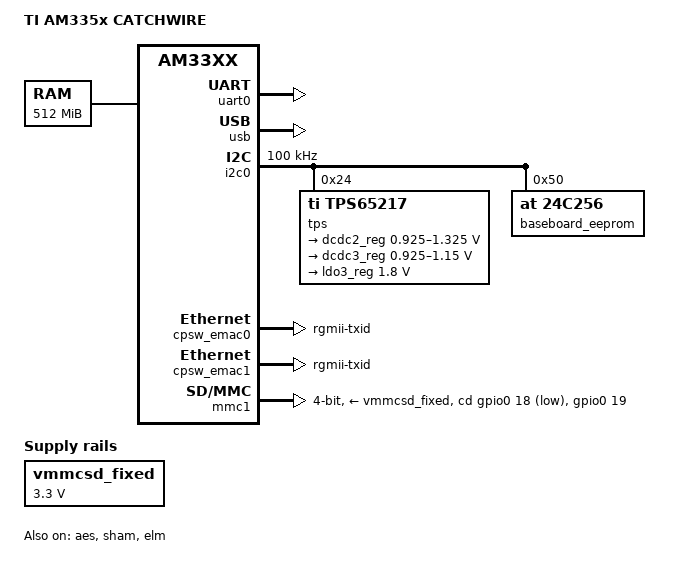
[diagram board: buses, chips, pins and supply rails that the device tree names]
/*
 * Copyright (C) 2012 Texas Instruments Incorporated - http://www.ti.com/
 *
 * This program is free software; you can redistribute it and/or modify
 * it under the terms of the GNU General Public License version 2 as
 * published by the Free Software Foundation.
 */
/dts-v1/;

#include "am33xx.dtsi"

/ {
	model = "TI AM335x CATCHWIRE";
	compatible = "ti,am33xx";

	memory {
		device_type = "memory";
		reg = <0x80000000 0x20000000>; /* 512 MB */
	};

	vmmcsd_fixed: fixedregulator@0 {
		compatible = "regulator-fixed";
		regulator-name = "vmmcsd_fixed";
		regulator-min-microvolt = <3300000>;
		regulator-max-microvolt = <3300000>;
	};
};

&am33xx_pinmux {
	pinctrl-names = "default";
	pinctrl-0 = <&clkout2_pin &gpio_pin>;

	i2c0_pins: pinmux_i2c0_pins {
		pinctrl-single,pins = <
			AM33XX_IOPAD(0x988, PIN_INPUT_PULLUP | MUX_MODE0 )	/* (C17) I2C0_SDA.I2C0_SDA */
			AM33XX_IOPAD(0x98c, PIN_INPUT_PULLUP | MUX_MODE0 )	/* (C16) I2C0_SCL.I2C0_SCL */
		>;
	};

	uart0_pins: pinmux_uart0_pins {
		pinctrl-single,pins = <
			AM33XX_IOPAD(0x968, PIN_INPUT_PULLUP | MUX_MODE6 )	/* (E18) uart0_ctsn.uart0_ctsn */
			AM33XX_IOPAD(0x96c, PIN_OUTPUT | MUX_MODE6 )		/* (E17) uart0_rtsn.uart0_rtsn */
			AM33XX_IOPAD(0x970, PIN_INPUT_PULLUP | MUX_MODE0 )	/* (E15) uart0_rxd.uart0_rxd */
			AM33XX_IOPAD(0x974, PIN_OUTPUT_PULLDOWN | MUX_MODE0 )	/* (E16) uart0_txd.uart0_txd */
		>;
	};

	clkout2_pin: pinmux_clkout2_pin {
		pinctrl-single,pins = <
			AM33XX_IOPAD(0x9b4, PIN_OUTPUT_PULLDOWN | MUX_MODE3 )	/* (D14) xdma_event_intr1.xdma_event_intr1 */
		>;
	};

	gpio_pin: pinmux_gpio_pin {
		pinctrl-single,pins = <
			AM33XX_IOPAD(0x800, PIN_INPUT_PULLDOWN | MUX_MODE7 )	/* (U7) gpmc_ad0.gpio1[0] */
			AM33XX_IOPAD(0x804, PIN_INPUT_PULLDOWN | MUX_MODE7 )	/* (V7) gpmc_ad1.gpio1[1] */
			AM33XX_IOPAD(0x9e8, PIN_OUTPUT_PULLDOWN | MUX_MODE7 )	/* (B14) EMU1.gpio3[8] */
		>;
	};

	cpsw_default: cpsw_default {
		pinctrl-single,pins = <
			AM33XX_IOPAD(0x914, PIN_OUTPUT_PULLDOWN | MUX_MODE2 )	/* (J16) gmii1_txen.rgmii1_tctl */
			AM33XX_IOPAD(0x918, PIN_INPUT_PULLDOWN | MUX_MODE2 )	/* (J17) gmii1_rxdv.rgmii1_rctl */
			AM33XX_IOPAD(0x91c, PIN_OUTPUT_PULLDOWN | MUX_MODE2 )	/* (J18) gmii1_txd3.rgmii1_td3 */
			AM33XX_IOPAD(0x920, PIN_OUTPUT_PULLDOWN | MUX_MODE2 )	/* (K15) gmii1_txd2.rgmii1_td2 */
			AM33XX_IOPAD(0x924, PIN_OUTPUT_PULLDOWN | MUX_MODE2 )	/* (K16) gmii1_txd1.rgmii1_td1 */
			AM33XX_IOPAD(0x928, PIN_OUTPUT_PULLDOWN | MUX_MODE2 )	/* (K17) gmii1_txd0.rgmii1_td0 */
			AM33XX_IOPAD(0x92c, PIN_OUTPUT_PULLDOWN | MUX_MODE2 )	/* (K18) gmii1_txclk.rgmii1_tclk */
			AM33XX_IOPAD(0x930, PIN_INPUT_PULLDOWN | MUX_MODE2 )	/* (L18) gmii1_rxclk.rgmii1_rclk */
			AM33XX_IOPAD(0x934, PIN_INPUT_PULLDOWN | MUX_MODE2 )	/* (L17) gmii1_rxd3.rgmii1_rd3 */
			AM33XX_IOPAD(0x938, PIN_INPUT_PULLDOWN | MUX_MODE2 )	/* (L16) gmii1_rxd2.rgmii1_rd2 */
			AM33XX_IOPAD(0x93c, PIN_INPUT_PULLDOWN | MUX_MODE2 )	/* (L15) gmii1_rxd1.rgmii1_rd1 */
			AM33XX_IOPAD(0x940, PIN_INPUT_PULLDOWN | MUX_MODE2 )	/* (M16) gmii1_rxd0.rgmii1_rd0 */

			AM33XX_IOPAD(0x840, PIN_OUTPUT_PULLDOWN | MUX_MODE2 )	/* (R13) gpmc_a0.rgmii2_tctl */
			AM33XX_IOPAD(0x844, PIN_INPUT_PULLDOWN | MUX_MODE2 )	/* (V14) gpmc_a1.rgmii2_rctl */
			AM33XX_IOPAD(0x848, PIN_OUTPUT_PULLDOWN | MUX_MODE2 )	/* (U14) gpmc_a2.rgmii2_td3 */
			AM33XX_IOPAD(0x84c, PIN_OUTPUT_PULLDOWN | MUX_MODE2 )	/* (T14) gpmc_a3.rgmii2_td2 */
			AM33XX_IOPAD(0x850, PIN_OUTPUT_PULLDOWN | MUX_MODE2 )	/* (R14) gpmc_a4.rgmii2_td1 */
			AM33XX_IOPAD(0x854, PIN_OUTPUT_PULLDOWN | MUX_MODE2 )	/* (V15) gpmc_a5.rgmii2_td0 */
			AM33XX_IOPAD(0x858, PIN_OUTPUT_PULLDOWN | MUX_MODE2 )	/* (U15) gpmc_a6.rgmii2_tclk */
			AM33XX_IOPAD(0x85c, PIN_INPUT_PULLDOWN | MUX_MODE2 )	/* (T15) gpmc_a7.rgmii2_rclk */
			AM33XX_IOPAD(0x860, PIN_INPUT_PULLDOWN | MUX_MODE2 )	/* (V16) gpmc_a8.rgmii2_rd3 */
			AM33XX_IOPAD(0x864, PIN_INPUT_PULLDOWN | MUX_MODE2 )	/* (U16) gpmc_a9.rgmii2_rd2 */
			AM33XX_IOPAD(0x868, PIN_INPUT_PULLDOWN | MUX_MODE2 )	/* (T16) gpmc_a10.rgmii2_rd1 */
			AM33XX_IOPAD(0x86c, PIN_INPUT_PULLDOWN | MUX_MODE2 )	/* (V17) gpmc_a11.rgmii2_rd0 */
		>;
	};

	cpsw_sleep: cpsw_sleep {
		pinctrl-single,pins = <
			AM33XX_IOPAD(0x914, PIN_INPUT_PULLDOWN | MUX_MODE7 )	/* (J16) gmii1_txen.rgmii1_tctl */
			AM33XX_IOPAD(0x918, PIN_INPUT_PULLDOWN | MUX_MODE7 )	/* (J17) gmii1_rxdv.rgmii1_rctl */
			AM33XX_IOPAD(0x91c, PIN_INPUT_PULLDOWN | MUX_MODE7 )	/* (J18) gmii1_txd3.rgmii1_td3 */
			AM33XX_IOPAD(0x920, PIN_INPUT_PULLDOWN | MUX_MODE7 )	/* (K15) gmii1_txd2.rgmii1_td2 */
			AM33XX_IOPAD(0x924, PIN_INPUT_PULLDOWN | MUX_MODE7 )	/* (K16) gmii1_txd1.rgmii1_td1 */
			AM33XX_IOPAD(0x928, PIN_INPUT_PULLDOWN | MUX_MODE7 )	/* (K17) gmii1_txd0.rgmii1_td0 */
			AM33XX_IOPAD(0x92c, PIN_INPUT_PULLDOWN | MUX_MODE7 )	/* (K18) gmii1_txclk.rgmii1_tclk */
			AM33XX_IOPAD(0x930, PIN_INPUT_PULLDOWN | MUX_MODE7 )	/* (L18) gmii1_rxclk.rgmii1_rclk */
			AM33XX_IOPAD(0x934, PIN_INPUT_PULLDOWN | MUX_MODE7 )	/* (L17) gmii1_rxd3.rgmii1_rd3 */
			AM33XX_IOPAD(0x938, PIN_INPUT_PULLDOWN | MUX_MODE7 )	/* (L16) gmii1_rxd2.rgmii1_rd2 */
			AM33XX_IOPAD(0x93c, PIN_INPUT_PULLDOWN | MUX_MODE7 )	/* (L15) gmii1_rxd1.rgmii1_rd1 */
			AM33XX_IOPAD(0x940, PIN_INPUT_PULLDOWN | MUX_MODE7 )	/* (M16) gmii1_rxd0.rgmii1_rd0 */

			AM33XX_IOPAD(0x840, PIN_INPUT_PULLDOWN | MUX_MODE7 )	/* (R13) gpmc_a0.rgmii2_tctl */
			AM33XX_IOPAD(0x844, PIN_INPUT_PULLDOWN | MUX_MODE7 )	/* (V14) gpmc_a1.rgmii2_rctl */
			AM33XX_IOPAD(0x848, PIN_INPUT_PULLDOWN | MUX_MODE7 )	/* (U14) gpmc_a2.rgmii2_td3 */
			AM33XX_IOPAD(0x84c, PIN_INPUT_PULLDOWN | MUX_MODE7 )	/* (T14) gpmc_a3.rgmii2_td2 */
			AM33XX_IOPAD(0x850, PIN_INPUT_PULLDOWN | MUX_MODE7 )	/* (R14) gpmc_a4.rgmii2_td1 */
			AM33XX_IOPAD(0x854, PIN_INPUT_PULLDOWN | MUX_MODE7 )	/* (V15) gpmc_a5.rgmii2_td0 */
			AM33XX_IOPAD(0x858, PIN_INPUT_PULLDOWN | MUX_MODE7 )	/* (U15) gpmc_a6.rgmii2_tclk */
			AM33XX_IOPAD(0x85c, PIN_INPUT_PULLDOWN | MUX_MODE7 )	/* (T15) gpmc_a7.rgmii2_rclk */
			AM33XX_IOPAD(0x860, PIN_INPUT_PULLDOWN | MUX_MODE7 )	/* (V16) gpmc_a8.rgmii2_rd3 */
			AM33XX_IOPAD(0x864, PIN_INPUT_PULLDOWN | MUX_MODE7 )	/* (U16) gpmc_a9.rgmii2_rd2 */
			AM33XX_IOPAD(0x868, PIN_INPUT_PULLDOWN | MUX_MODE7 )	/* (T16) gpmc_a10.rgmii2_rd1 */
			AM33XX_IOPAD(0x86c, PIN_INPUT_PULLDOWN | MUX_MODE7 )	/* (V17) gpmc_a11.rgmii2_rd0 */
		>;
	};

	davinci_mdio_default: davinci_mdio_default {
		pinctrl-single,pins = <
			AM33XX_IOPAD(0x948, SLEWCTRL_SLOW | PIN_INPUT_PULLUP | MUX_MODE0 )	/* (M17) mdio_data.mdio_data */
			AM33XX_IOPAD(0x94c, PIN_OUTPUT_PULLUP | MUX_MODE0 )			/* (M18) mdio_clk.mdio_clk */
		>;
	};

	davinci_mdio_sleep: davinci_mdio_sleep {
		pinctrl-single,pins = <
			AM33XX_IOPAD(0x948, PIN_INPUT_PULLDOWN | MUX_MODE7 )	/* (M17) mdio_data.mdio_data */
			AM33XX_IOPAD(0x94c, PIN_INPUT_PULLDOWN | MUX_MODE7 )	/* (M18) mdio_clk.mdio_clk */
		>;
	};

	mmc1_pins_default: pinmux_mmc1_pins {
		pinctrl-single,pins = <
			AM33XX_IOPAD(0x8f0, PIN_INPUT_PULLUP | MUX_MODE0 )	/* (F17) mmc0_dat3.mmc0_dat3 */
			AM33XX_IOPAD(0x8f4, PIN_INPUT_PULLUP | MUX_MODE0 )	/* (F18) mmc0_dat2.mmc0_dat2 */
			AM33XX_IOPAD(0x8f8, PIN_INPUT_PULLUP | MUX_MODE0 )	/* (G15) mmc0_dat1.mmc0_dat1 */
			AM33XX_IOPAD(0x8fc, PIN_INPUT_PULLUP | MUX_MODE0 )	/* (G16) mmc0_dat0.mmc0_dat0 */
			AM33XX_IOPAD(0x900, PIN_INPUT_PULLUP | MUX_MODE0 )	/* (G17) mmc0_clk.mmc0_clk */
			AM33XX_IOPAD(0x904, PIN_INPUT_PULLUP | MUX_MODE0 )	/* (G18) mmc0_cmd.mmc0_cmd */
			AM33XX_IOPAD(0x888, PIN_INPUT | MUX_MODE7 )		/* (T13) gpmc_csn3.gpio2[0] */
		>;
	};

	mmc1_pins_sleep: pinmux_mmc1_pins_sleep {
		pinctrl-single,pins = <
			AM33XX_IOPAD(0x8f0, PIN_INPUT_PULLDOWN | MUX_MODE7 )	/* (F17) mmc0_dat3.mmc0_dat3 */
			AM33XX_IOPAD(0x8f4, PIN_INPUT_PULLDOWN | MUX_MODE7 )	/* (F18) mmc0_dat2.mmc0_dat2 */
			AM33XX_IOPAD(0x8f8, PIN_INPUT_PULLDOWN | MUX_MODE7 )	/* (G15) mmc0_dat1.mmc0_dat1 */
			AM33XX_IOPAD(0x8fc, PIN_INPUT_PULLDOWN | MUX_MODE7 )	/* (G16) mmc0_dat0.mmc0_dat0 */
			AM33XX_IOPAD(0x900, PIN_INPUT_PULLDOWN | MUX_MODE7 )	/* (G17) mmc0_clk.mmc0_clk */
			AM33XX_IOPAD(0x904, PIN_INPUT_PULLDOWN | MUX_MODE7 )	/* (G18) mmc0_cmd.mmc0_cmd */
			AM33XX_IOPAD(0x888, PIN_INPUT_PULLDOWN | MUX_MODE7 )	/* (T13) gpmc_csn3.gpio2[0] */
		>;
	};
};

&uart0 {
	pinctrl-names = "default";
	pinctrl-0 = <&uart0_pins>;

	status = "okay";
};

&usb {
	status = "okay";

	control@44e10620 {
		status = "okay";
	};

	usb-phy@47401b00 {
		status = "okay";
	};

	usb@47401000 {
		dr_mode = "host";
	};

	usb@47401800 {
		status = "okay";
		dr_mode = "host";
	};

	dma-controller@47402000  {
		status = "okay";
	};
};

&i2c0 {
	pinctrl-names = "default";
	pinctrl-0 = <&i2c0_pins>;

	status = "okay";
	clock-frequency = <100000>;
	sleep-sequence = <0x2240b6d 0x2241002 0x2240b6d 0x2241002 0x2240b6c 0x2241186 0x2240b6c 0x2241186>;
	wake-sequence = <0x2240b6d 0x2241008 0x2240b6d 0x2241008 0x2240b6c 0x2241186 0x2240b6c 0x2241186>;


	tps: tps@24 {
		reg = <0x24>;
	};

	baseboard_eeprom: baseboard_eeprom@50 {
		compatible = "at,24c256";
		reg = <0x50>;
	};
};

&tps {
	compatible = "ti,tps65217";

	regulators {
		#address-cells = <0x1>;
		#size-cells = <0x0>;

		dcdc1_reg: regulator@0 {
			reg = <0x0>;
			regulator-compatible = "dcdc1";
			regulator-always-on;
		};

		dcdc2_reg: regulator@1 {
			reg = <0x1>;
			regulator-compatible = "dcdc2";
			/* VDD_MPU voltage limits 0.95V - 1.325V with +/-4% tolerance */
			regulator-name = "vdd_mpu";
			regulator-min-microvolt = <925000>;
			regulator-max-microvolt = <1325000>;
			regulator-boot-on;
			regulator-always-on;
		};

		dcdc3_reg: regulator@2 {
			reg = <0x2>;
			regulator-compatible = "dcdc3";
			/* VDD_CORE voltage limits 0.95V - 1.1V with +/-4% tolerance */
			regulator-name = "vdd_core";
			regulator-min-microvolt = <925000>;
			regulator-max-microvolt = <1150000>;
			regulator-boot-on;
			regulator-always-on;
		};

		ldo1_reg: regulator@3 {
			reg = <0x3>;
			regulator-compatible = "ldo1";
			regulator-always-on;
		};

		ldo2_reg: regulator@4 {
			reg = <0x4>;
			regulator-compatible = "ldo2";
			regulator-always-on;
		};

		ldo3_reg: regulator@5 {
			reg = <0x5>;
			regulator-compatible = "ldo3";
			regulator-always-on;
			regulator-min-microvolt = <1800000>;
			regulator-max-microvolt = <1800000>;
		};

		ldo4_reg: regulator@6 {
			reg = <0x6>;
			regulator-compatible = "ldo4";
			regulator-always-on;
		};

		rtc@44e3e000 {
			ti,system-power-controller;
		};
	};
};

&cpsw_emac0 {
	phy_id = <&davinci_mdio>, <3>;
	phy-mode = "rgmii-txid";
};

&cpsw_emac1 {
	phy_id = <&davinci_mdio>, <1>;
	phy-mode = "rgmii-txid";
};

&mac {
	pinctrl-names = "default", "sleep";
	pinctrl-0 = <&cpsw_default>;
	pinctrl-1 = <&cpsw_sleep>;

};

&davinci_mdio {
	pinctrl-names = "default", "sleep";
	pinctrl-0 = <&davinci_mdio_default>;
	pinctrl-1 = <&davinci_mdio_sleep>;
};

&mmc1 {
	status = "okay";
	bus-width = <0x4>;
	pinctrl-names = "default";
	pinctrl-0 = <&mmc1_pins_default>;
	gpios = <&gpio0 19 GPIO_ACTIVE_LOW>;
	cd-gpios = <&gpio0 18 GPIO_ACTIVE_HIGH>;
	cd-inverted;
	vmmc-supply = <&vmmcsd_fixed>;
};

&aes {
	status = "okay";
};

&sham {
	status = "okay";
};

&elm {
	status = "okay";
};
